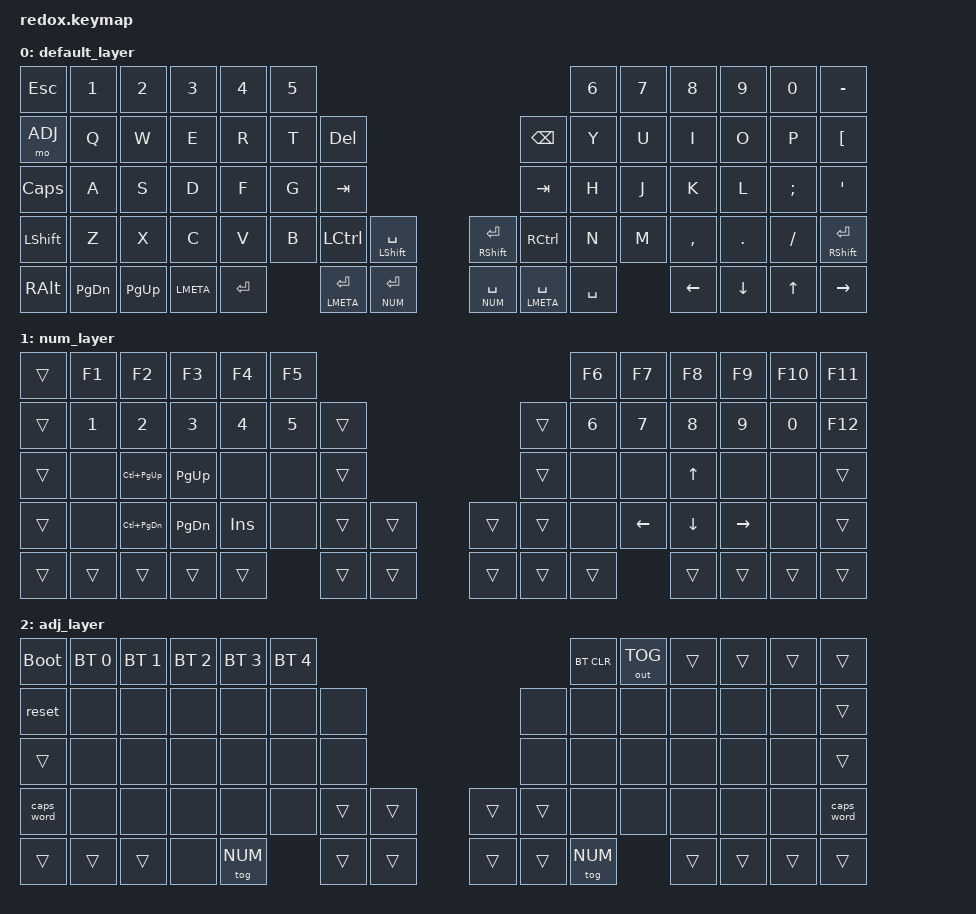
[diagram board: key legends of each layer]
/*
 * Copyright (c) 2021 The ZMK Contributors
 *
 * SPDX-License-Identifier: MIT
 */

#include <behaviors.dtsi>
#include <dt-bindings/zmk/keys.h>
#include <dt-bindings/zmk/bt.h>
#include <dt-bindings/zmk/ext_power.h>
#include <dt-bindings/zmk/outputs.h>

#define DEFAULT 0
#define NUM     1
#define ADJ     2

#define PTAB LC(PG_UP)
#define NTAB LC(PG_DN)

/ {
    keymap {
        compatible =  "zmk,keymap" ;

        // codes: https://zmk.dev/docs/codes/

		default_layer { // 0
			bindings = <
//+---------+---------+---------+---------+---------+---------+                                                             +---------+---------+---------+---------+---------+---------+
//|         |         |         |         |         |         |                                                             |         |         |         |         |         |         |
  &kp ESC   &kp N1    &kp N2    &kp N3    &kp N4    &kp N5      /* ---------+                                 +--------- */ &kp N6    &kp N7    &kp N8    &kp N9    &kp N0    &kp MINUS
  &mo ADJ   &kp Q     &kp W     &kp E     &kp R     &kp T     &kp DEL                                         &kp BSPC      &kp Y     &kp U     &kp I     &kp O     &kp P     &kp LEFT_BRACKET
  &kp CAPS  &kp A     &kp S     &kp D     &kp F     &kp G     &kp TAB         /* ---------+     +--------- */ &kp TAB       &kp H     &kp J     &kp K     &kp L     &kp SEMI  &kp SQT
  &kp LSHFT &kp Z     &kp X     &kp C     &kp V     &kp B     &kp LCTRL     &mt LSHFT SPC       &mt RSHFT RET &kp RCTRL     &kp N     &kp M     &kp COMMA &kp DOT   &kp FSLH  &mt RSHFT RET
  &kp RALT  &kp PG_DN &kp PG_UP &kp LMETA &kp RET             &mt LMETA RET &lt NUM RET         &lt NUM SPC   &mt LMETA SPC &kp SPC             &kp LEFT  &kp DOWN  &kp UP    &kp RIGHT
//|         |         |         |         |                   |             |             |     |             |             |                   |         |         |         |         |
//+---------+---------+---------+---------+-------------------+-------------+-------------+     +-------------+-------------+-------------------+---------+---------+---------+---------+
			>;
        };
		num_layer { // 1
			bindings = <
//+---------+---------+---------+---------+---------+---------+                                                             +---------+---------+---------+---------+---------+---------+
//|         |         |         |         |         |         |                                                             |         |         |         |         |         |         |
  &trans    &kp F1    &kp F2    &kp F3    &kp F4    &kp F5      /* ---------+                                 +--------- */ &kp F6    &kp F7    &kp F8    &kp F9    &kp F10   &kp F11
  &trans    &kp N1    &kp N2    &kp N3    &kp N4    &kp N5    &trans                                          &trans        &kp N6    &kp N7    &kp N8    &kp N9    &kp N0    &kp F12
  &trans    &none     &kp PTAB  &kp PG_UP &none     &none     &trans          /* ---------+     +--------- */ &trans        &none     &none     &kp UP    &none     &none     &trans
  &trans    &none     &kp NTAB  &kp PG_DN &kp INS   &none     &trans        &trans              &trans        &trans        &none     &kp LEFT  &kp DOWN  &kp RIGHT &none     &trans
  &trans    &trans    &trans    &trans    &trans              &trans        &trans              &trans        &trans        &trans              &trans    &trans    &trans    &trans
//|         |         |         |         |                   |             |             |     |             |             |                   |         |         |         |         |
//+---------+---------+---------+---------+-------------------+-------------+-------------+     +-------------+-------------+-------------------+---------+---------+---------+---------+
			>;
		};
		adj_layer { // 2
			bindings = <
//+---------+---------+---------+---------+---------+---------+                                                             +---------+---------+---------+---------+---------+---------+
//|         |         |         |         |         |         |                                                             |         |         |         |         |         |         |
  &bootloader &bt BT_SEL 0 &bt BT_SEL 1 &bt BT_SEL 2 &bt BT_SEL 3 &bt BT_SEL 4                                              &bt BT_CLR &out OUT_TOG &trans &trans   &trans    &trans
  &reset    &none     &none     &none     &none     &none     &none                                           &none         &none     &none     &none     &none     &none     &trans
  &trans    &none     &none     &none     &none     &none     &none           /* ---------+     +--------- */ &none         &none     &none     &none     &none     &none     &trans
  &caps_word &none    &none     &none     &none     &none     &trans        &trans              &trans        &trans        &none     &none     &none     &none     &none     &caps_word
  &trans    &trans    &trans    &none     &tog NUM            &trans        &trans              &trans        &trans        &tog NUM            &trans    &trans    &trans    &trans
//|         |         |         |         |                   |             |             |     |             |             |                   |         |         |         |         |
//+---------+---------+---------+---------+-------------------+-------------+-------------+     +-------------+-------------+-------------------+---------+---------+---------+---------+
			>;
		};
    };
};




/*
        default_layer {
// --------------------------------------------------------------------------------------------------------------------------------
// | ESC   |  1  |  2  |   3   |  4  |  5  |                   ---                |  6    |  7    |  8    |  9   | 0  |    BKSP   |
// | TAB   |  Q  |  W  |   E   |  R  |  T  |   (   |           ---        |  )    |  Y    |  U    |  I    |  O   | P  |     -     |
// | CTRL  |  A  |  S  |   D   |  F  |  G  |   [   |           ---        |  ]    |  H    |  J    |  K    |  L   | ;  |     '     |
// | SHIFT |  Z  |  X  |   C   |  V  |  B  | PG_UP | PG_DOWN | --- | HOME | END   |  N    |  M    |  ,    |  .   | /  | SHFT(RET) |
// | CRTL  | ALT | GUI | LOWER |    GUI    | LOWER | SPACE   | --- | DEL  | SPACE |     RAISE     | LEFT  | DOWN | UP |   RIGHT   |
            bindings = <
   &kp ESC   &kp N1   &kp N2   &kp N3 &kp N4   &kp N5                                        &kp N6    &kp N7 &kp N8    &kp N9   &kp N0   &kp BSPC
   &kp TAB   &kp Q    &kp W    &kp E  &kp R    &kp T  &kp LPAR                     &kp RPAR  &kp Y     &kp U  &kp I     &kp O    &kp P    &kp MINUS
   &kp LCTRL &kp A    &kp S    &kp D  &kp F    &kp G  &kp LBKT                     &kp RBKT  &kp H     &kp J  &kp K     &kp L    &kp SEMI &kp SQT
   &kp LSHFT &kp Z    &kp X    &kp C  &kp V    &kp B  &kp PG_UP &kp PG_DN &kp HOME &kp END   &kp N     &kp M  &kp COMMA &kp DOT  &kp FSLH &mt RSHFT RET
   &kp LCTRL &kp LALT &kp LGUI &mo 3      &kp LGUI    &mo 1     &kp SPACE &kp DEL  &kp SPACE       &mo 2      &kp LEFT  &kp DOWN &kp UP   &kp RIGHT
            >;

        };

        lower_layer {
// --------------------------------------------------------------------------------------------------------------------------
// | ESC   |  1  |  2  |   3   |   4   |  5  |                   ---              |  6  |  7  |   8  |  9   |  0  |  DEL  |
// | ESC   |  1  |  2  |   3   |   4   |  5  |   (   |           ---        |  )  |  6  |  7  |   8  |  9   |  0  |  DEL  |
// | CTRL  |  -  |  =  |   [   |   ]   |  \  |   [   |           ---        |  ]  |  *  |  4  |   5  |  6   |  +  |   -   |
// | SHIFT | ESC | GUI | COPY  | PASTE |     | PG_UP | PG_DOWN | --- | HOME | END |  \  |  1  |   2  |  3   | RET |  RET  |
// | CRTL  | ALT | GUI | LOWER |     GUI     | LOWER | SPACE   | --- | DEL  |  0  |    RAISE  | LEFT | DOWN | UP  | RIGHT |
            bindings = <
   &trans  &trans    &trans    &trans    &trans    &trans                                &trans          &trans    &trans    &trans    &trans      &trans
   &kp ESC &kp N1    &kp N2    &kp N3    &kp N4    &kp N5    &trans               &trans &kp N6          &kp N7    &kp N8    &kp N9    &kp N0      &kp DEL
   &trans  &kp MINUS &kp EQUAL &kp LBKT  &kp RBKT  &kp BSLH  &trans               &trans &kp KP_MULTIPLY &kp N4    &kp N5    &kp N6    &kp KP_PLUS &kp KP_MINUS
   &trans  &kp ESC   &kp LGUI  &kp LG(C) &kp LG(V) &kp GRAVE &trans &trans &trans &trans &kp KP_DIVIDE   &kp N1    &kp N2    &kp N3    &kp RET     &kp RET
   &trans  &trans    &trans    &trans          &trans        &trans &trans &trans &kp N0          &mo 3            &trans    &trans    &trans      &trans
            >;
        };

        raise_layer {
// ----------------------------------------------------------------------------------------------------------------------------
// | ESC   |  1  |  2  |   3   |  4  |  5  |                   ---                |  6   |  7   |  8   |  9   |  0    |  DEL  |
// | ESC   |  !  |  @  |   #   |  $  |  %  |   (   |           ---        |  )    |  ^   |  &   |  *   |  (   |  )    |  DEL  |
// | CTRL  |  _  |  +  |   {   |  }  | "|" |   [   |           ---        |  ]    | HOME | PGUP | PRSC | UP   |  `    |   ~   |
// | SHIFT | ESC | GUI |   (   |  )  |     | PG_UP | PG_DOWN | --- | HOME | END   | END  | PGDN | LEFT | DOWN | RIGHT |  RET  |
// | CRTL  | ALT | GUI | LOWER |    GUI    | LOWER | SPACE   | --- | DEL  | SPACE |    RAISE    | LEFT | DOWN | UP    | RIGHT |
            bindings = <
   &trans  &trans    &trans   &trans   &trans   &trans                                &trans    &trans    &trans    &trans   &trans    &trans
   &kp ESC &kp EXCL  &kp AT   &kp HASH &kp DLLR &kp PRCNT &trans               &trans &kp CARET &kp AMPS  &kp ASTRK &kp LPAR &kp RPAR  &kp DEL
   &trans  &kp UNDER &kp PLUS &kp LBRC &kp RBRC &kp PIPE  &trans               &trans &kp HOME  &kp PG_UP &kp PSCRN &kp UP   &kp GRAVE &kp TILDE
   &trans  &kp ESC   &kp LGUI &kp LPAR &kp RPAR &kp TILDE &trans &trans &trans &trans &kp END   &kp PG_DN &kp LEFT  &kp DOWN &kp RIGHT &kp RET
   &trans  &trans    &trans   &mo 3         &trans        &mo 3  &trans &trans &trans        &trans       &trans    &trans   &trans    &trans
            >;
        };

        adjust_layer {
// -----------------------------------------------------------------------------------------
// |  F1   |  F2   |    F3    |    F4     |     F5     | F6 |                   ---                | F7  | F8  |  F9  |  F10 | F11 | F12        |
// | TAB   |       |          |           |            |    | BOOTL |           ---        |  )    | BT1 | BT2 |  BT3 |  BT4 | BT5 | OUTPUT TGL |
// | CTRL  | MUTE  |  Vol Dn  |  Vol Up   | Play/Pause |    | RESET |           ---        |  ]    | F1  | F2  |  F3  |  F4  | F5  | F6         |
// | SHIFT | PSCRN |  PSCRN   |   CAPS    |            |    | PG_UP | PG_DOWN | --- | HOME | END   | F7  | F8  |  F9  |  F10 | F11 | F12        |
// | CRTL  | ALT   |  GUI     |   LOWER   |      GUI        | LOWER | SPACE   | --- | DEL  | SPACE |   RAISE   | LEFT | DOWN | UP  |   RIGHT    |
                        bindings = <
   &kp F1  &kp F2     &kp F3       &kp F4       &kp F5           &kp F6                                 &kp F7       &kp F8       &kp F9       &kp F10      &kp F11       &kp F12
   &trans  &none      &none        &none        &none            &none  &bootloader          &bt BT_CLR &bt BT_SEL 0 &bt BT_SEL 1 &bt BT_SEL 2 &bt BT_SEL 3 &bt BT_SEL 4  &out OUT_TOG
   &trans  &kp K_MUTE &kp C_VOL_DN &kp C_VOL_UP &kp C_PLAY_PAUSE &none  &reset               &trans     &kp F1       &kp F2       &kp F3       &kp F4       &kp F5        &kp F6
   &trans  &kp PSCRN  &kp PSCRN    &kp CLCK     &none            &none  &trans &trans &trans &trans     &kp F7       &kp F8       &kp F9       &kp F10      &kp F11       &kp F12
   &trans  &trans     &trans       &trans              &trans           &trans &trans &trans &trans          &trans           &trans       &trans       &trans        &trans
            >;
        };
*/
